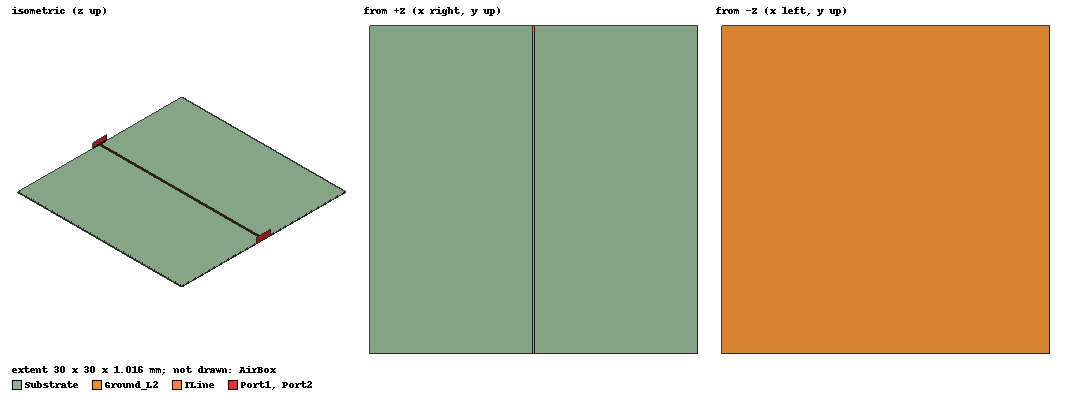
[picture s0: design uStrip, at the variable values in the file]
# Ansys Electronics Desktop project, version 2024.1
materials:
  vacuum: permittivity=1
  Isola I-Speed (R): permittivity=3.64 dielectric_loss_tangent=0.006

design uStrip (HFSS, HFSS Modal Network, model units mm)
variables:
  substrate = 30mm
  h_L1L2 = 4mil
  uStrip = 9.5mil
  port_width = 10*uStrip
  h_airbox = 20mm
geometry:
  Substrate [Isola I-Speed (R)] = box(corner=(-substrate/2, -substrate/2, 0mm), size=(substrate, substrate, -h_L1L2))
  Ground_L2 = rectangle(corner=(-substrate/2, -substrate/2, -h_L1L2), x_size=substrate, y_size=substrate)
  TLine = rectangle(corner=(-uStrip/2, -substrate/2, 0mm), x_size=uStrip, y_size=substrate)
  Port1 = rectangle(corner=(-port_width/2, -substrate/2, -h_L1L2), z_size=10*h_L1L2, x_size=port_width)
  Port2 = rectangle(corner=(-port_width/2, substrate/2, -h_L1L2), z_size=10*h_L1L2, x_size=port_width)
  AirBox [vacuum] = box(corner=(-substrate/2, -substrate/2, -h_airbox/2), size=(substrate, substrate, h_airbox))
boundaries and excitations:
  Radiation: Radiation Objects=AirBox
  PerfE_Ground_L2: Perfect E Objects=Ground_L2
  PerfE_TLine: Perfect E Objects=TLine
  1: Wave Port Objects=Port1 WavePortType=Modal NumModes=1 Modes{Mode1{IntLine{(0, -15, 0.9144) -> (0, -15, -0.1016)} CharImp=Zpi}}
  2: Wave Port Objects=Port2 WavePortType=Modal NumModes=1 Modes{Mode1{IntLine{(0, 15, 0.9144) -> (0, 15, -0.1016)} CharImp=Zpi}}
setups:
  Setup1: HfssDriven Frequency=5GHz MaxDeltaS=0.01 MaximumPasses=20 MinimumPasses=1 MinimumConvergedPasses=1 PercentRefinement=30 BasisOrder=1 PortAccuracy=2 DrivenSolverType="Direct Solver"
    sweep Sweep: 2.5GHz to 7.5GHz, 401 points; Type=Interpolating InterpTolerance=0.5 InterpMaxSolns=250 InterpUsePortImped=false PassivityErrorTolerance=0.0001
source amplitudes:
  1:1: 1W 0deg
  2:1: 0W 0deg
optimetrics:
  ParametricSetup1: Parametric Sim._Setups=[Setup1]
    sweep uStrip: LIN 4mil 20mil 0.5mil
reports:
  S Parameter: dB(S(1,1)), dB(S(2,1)) vs Freq on Setup1 : Sweep
  Port Zo: re(Zo(1)) vs Freq on Setup1 : Sweep [uStrip=all]
